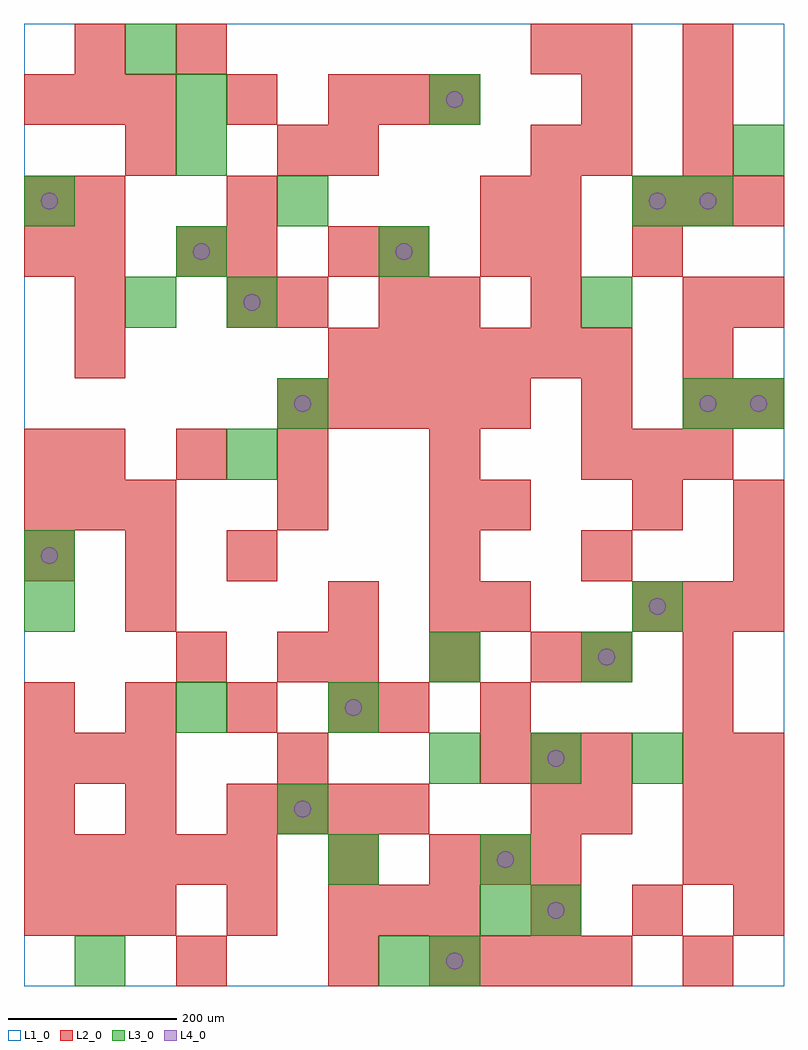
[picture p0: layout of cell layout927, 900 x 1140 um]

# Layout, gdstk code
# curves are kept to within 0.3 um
import gdstk
lib = gdstk.Library(unit=1e-6, precision=1e-09)
def R(c, l, rs):  # rectangles x0, y0, x1, y1
    for r in rs: c.add(gdstk.rectangle(r[:2], r[2:], *l))
def A(c, l, x, y, w, h, nx, ny, dx, dy):  # array of equal rectangles
    R(c, l, [(x+i*dx, y+j*dy, x+i*dx+w, y+j*dy+h) for i in range(nx) for j in range(ny)])
def P(c, l, *ps):  # polygons
    for p in ps: c.add(gdstk.Polygon(p, *l))
L1_0 = (1, 0)
L2_0 = (2, 0)
L3_0 = (3, 0)
L4_0 = (4, 0)

layout927 = lib.new_cell('layout927')
R(layout927, L1_0, [(0,0,900,1140)])
A(layout927, L2_0, 480, 0, 60, 60, 4, 1, 60, 0)
A(layout927, L2_0, 0, 60, 60, 60, 3, 2, 60, 180)
A(layout927, L2_0, 360, 60, 60, 60, 3, 2, 60, 960)
A(layout927, L2_0, 600, 60, 60, 60, 3, 1, 120, 0)
A(layout927, L2_0, 0, 120, 60, 60, 5, 1, 60, 0)
A(layout927, L2_0, 480, 120, 60, 60, 3, 1, 60, 0)
A(layout927, L2_0, 780, 120, 60, 60, 1, 5, 0, 60)
A(layout927, L2_0, 840, 120, 60, 60, 1, 3, 0, 60)
A(layout927, L2_0, 0, 180, 60, 60, 3, 2, 120, 300)
A(layout927, L2_0, 300, 180, 60, 60, 3, 1, 60, 0)
A(layout927, L2_0, 540, 240, 60, 60, 3, 1, 60, 0)
A(layout927, L2_0, 0, 300, 60, 60, 4, 1, 120, 0)
A(layout927, L2_0, 540, 300, 60, 60, 1, 3, 0, 120)
A(layout927, L2_0, 360, 360, 60, 60, 3, 1, 120, 0)
A(layout927, L2_0, 660, 360, 60, 60, 1, 3, 0, 300)
A(layout927, L2_0, 720, 420, 60, 60, 3, 2, 60, 480)
A(layout927, L2_0, 480, 480, 60, 60, 3, 1, 180, 0)
A(layout927, L2_0, 0, 540, 60, 60, 3, 2, 60, 480)
A(layout927, L2_0, 840, 540, 60, 60, 1, 3, 0, 120)
A(layout927, L2_0, 60, 600, 60, 60, 3, 1, 120, 0)
A(layout927, L2_0, 660, 600, 60, 60, 3, 1, 60, 0)
A(layout927, L2_0, 300, 660, 60, 60, 5, 1, 60, 0)
A(layout927, L2_0, 780, 660, 60, 60, 1, 3, 0, 60)
A(layout927, L2_0, 60, 720, 60, 60, 1, 4, 0, 60)
A(layout927, L2_0, 360, 720, 60, 60, 6, 1, 60, 0)
A(layout927, L2_0, 240, 780, 60, 60, 1, 3, 0, 60)
A(layout927, L2_0, 600, 780, 60, 60, 1, 4, 0, 60)
A(layout927, L2_0, 780, 960, 60, 60, 1, 3, 0, 60)
R(layout927, L2_0, [(180,0,240,60), (360,0,420,60), (780,0,840,60), (240,60,300,120), (360,120,420,180), (600,180,660,240), (660,180,720,240), (300,240,360,300), (420,300,480,360), (180,360,240,420), (300,360,360,420), (120,420,180,480), (360,420,420,480), (480,420,540,480), (300,540,360,600), (480,540,540,600), (720,540,780,600), (0,600,60,660), (480,600,540,660), (300,780,360,840), (420,780,480,840), (480,780,540,840), (0,840,60,900), (180,840,240,900), (360,840,420,900), (420,840,480,900), (540,840,600,900), (720,840,780,900), (0,900,60,960), (540,900,600,960), (120,960,180,1020), (300,960,360,1020), (360,960,420,1020), (240,1020,300,1080), (660,1020,720,1080), (60,1080,120,1140), (180,1080,240,1140), (600,1080,660,1140), (660,1080,720,1140)])
A(layout927, L3_0, 480, 240, 60, 60, 3, 1, 120, 0)
R(layout927, L3_0, [(60,0,120,60), (420,0,480,60), (480,0,540,60), (540,60,600,120), (600,60,660,120), (360,120,420,180), (540,120,600,180), (300,180,360,240), (180,300,240,360), (360,300,420,360), (480,360,540,420), (660,360,720,420), (0,420,60,480), (720,420,780,480), (0,480,60,540), (240,600,300,660), (300,660,360,720), (780,660,840,720), (840,660,900,720), (120,780,180,840), (240,780,300,840), (660,780,720,840), (180,840,240,900), (420,840,480,900), (0,900,60,960), (300,900,360,960), (720,900,780,960), (780,900,840,960), (180,960,240,1020), (840,960,900,1020), (180,1020,240,1080), (480,1020,540,1080), (120,1080,180,1140)])
P(layout927, L4_0, [(40,510),(39.239,513.827),(37.071,517.071),(33.827,519.239),(30,520),(26.173,519.239),(22.929,517.071),(20.761,513.827),(20,510),(20.761,506.173),(22.929,502.929),(26.173,500.761),(30,500),(33.827,500.761),(37.071,502.929),(39.239,506.173)],
  [(40,930),(39.239,933.827),(37.071,937.071),(33.827,939.239),(30,940),(26.173,939.239),(22.929,937.071),(20.761,933.827),(20,930),(20.761,926.173),(22.929,922.929),(26.173,920.761),(30,920),(33.827,920.761),(37.071,922.929),(39.239,926.173)],
  [(220,870),(219.239,873.827),(217.071,877.071),(213.827,879.239),(210,880),(206.173,879.239),(202.929,877.071),(200.761,873.827),(200,870),(200.761,866.173),(202.929,862.929),(206.173,860.761),(210,860),(213.827,860.761),(217.071,862.929),(219.239,866.173)],
  [(280,810),(279.239,813.827),(277.071,817.071),(273.827,819.239),(270,820),(266.173,819.239),(262.929,817.071),(260.761,813.827),(260,810),(260.761,806.173),(262.929,802.929),(266.173,800.761),(270,800),(273.827,800.761),(277.071,802.929),(279.239,806.173)],
  [(340,210),(339.239,213.827),(337.071,217.071),(333.827,219.239),(330,220),(326.173,219.239),(322.929,217.071),(320.761,213.827),(320,210),(320.761,206.173),(322.929,202.929),(326.173,200.761),(330,200),(333.827,200.761),(337.071,202.929),(339.239,206.173)],
  [(340,690),(339.239,693.827),(337.071,697.071),(333.827,699.239),(330,700),(326.173,699.239),(322.929,697.071),(320.761,693.827),(320,690),(320.761,686.173),(322.929,682.929),(326.173,680.761),(330,680),(333.827,680.761),(337.071,682.929),(339.239,686.173)],
  [(400,330),(399.239,333.827),(397.071,337.071),(393.827,339.239),(390,340),(386.173,339.239),(382.929,337.071),(380.761,333.827),(380,330),(380.761,326.173),(382.929,322.929),(386.173,320.761),(390,320),(393.827,320.761),(397.071,322.929),(399.239,326.173)],
  [(460,870),(459.239,873.827),(457.071,877.071),(453.827,879.239),(450,880),(446.173,879.239),(442.929,877.071),(440.761,873.827),(440,870),(440.761,866.173),(442.929,862.929),(446.173,860.761),(450,860),(453.827,860.761),(457.071,862.929),(459.239,866.173)],
  [(520,30),(519.239,33.827),(517.071,37.071),(513.827,39.239),(510,40),(506.173,39.239),(502.929,37.071),(500.761,33.827),(500,30),(500.761,26.173),(502.929,22.929),(506.173,20.761),(510,20),(513.827,20.761),(517.071,22.929),(519.239,26.173)],
  [(520,1050),(519.239,1053.827),(517.071,1057.071),(513.827,1059.239),(510,1060),(506.173,1059.239),(502.929,1057.071),(500.761,1053.827),(500,1050),(500.761,1046.173),(502.929,1042.929),(506.173,1040.761),(510,1040),(513.827,1040.761),(517.071,1042.929),(519.239,1046.173)],
  [(580,150),(579.239,153.827),(577.071,157.071),(573.827,159.239),(570,160),(566.173,159.239),(562.929,157.071),(560.761,153.827),(560,150),(560.761,146.173),(562.929,142.929),(566.173,140.761),(570,140),(573.827,140.761),(577.071,142.929),(579.239,146.173)],
  [(640,90),(639.239,93.827),(637.071,97.071),(633.827,99.239),(630,100),(626.173,99.239),(622.929,97.071),(620.761,93.827),(620,90),(620.761,86.173),(622.929,82.929),(626.173,80.761),(630,80),(633.827,80.761),(637.071,82.929),(639.239,86.173)],
  [(640,270),(639.239,273.827),(637.071,277.071),(633.827,279.239),(630,280),(626.173,279.239),(622.929,277.071),(620.761,273.827),(620,270),(620.761,266.173),(622.929,262.929),(626.173,260.761),(630,260),(633.827,260.761),(637.071,262.929),(639.239,266.173)],
  [(700,390),(699.239,393.827),(697.071,397.071),(693.827,399.239),(690,400),(686.173,399.239),(682.929,397.071),(680.761,393.827),(680,390),(680.761,386.173),(682.929,382.929),(686.173,380.761),(690,380),(693.827,380.761),(697.071,382.929),(699.239,386.173)],
  [(760,450),(759.239,453.827),(757.071,457.071),(753.827,459.239),(750,460),(746.173,459.239),(742.929,457.071),(740.761,453.827),(740,450),(740.761,446.173),(742.929,442.929),(746.173,440.761),(750,440),(753.827,440.761),(757.071,442.929),(759.239,446.173)],
  [(760,930),(759.239,933.827),(757.071,937.071),(753.827,939.239),(750,940),(746.173,939.239),(742.929,937.071),(740.761,933.827),(740,930),(740.761,926.173),(742.929,922.929),(746.173,920.761),(750,920),(753.827,920.761),(757.071,922.929),(759.239,926.173)],
  [(820,690),(819.239,693.827),(817.071,697.071),(813.827,699.239),(810,700),(806.173,699.239),(802.929,697.071),(800.761,693.827),(800,690),(800.761,686.173),(802.929,682.929),(806.173,680.761),(810,680),(813.827,680.761),(817.071,682.929),(819.239,686.173)],
  [(820,930),(819.239,933.827),(817.071,937.071),(813.827,939.239),(810,940),(806.173,939.239),(802.929,937.071),(800.761,933.827),(800,930),(800.761,926.173),(802.929,922.929),(806.173,920.761),(810,920),(813.827,920.761),(817.071,922.929),(819.239,926.173)],
  [(880,690),(879.239,693.827),(877.071,697.071),(873.827,699.239),(870,700),(866.173,699.239),(862.929,697.071),(860.761,693.827),(860,690),(860.761,686.173),(862.929,682.929),(866.173,680.761),(870,680),(873.827,680.761),(877.071,682.929),(879.239,686.173)])

lib.write_gds('layout927.gds')
